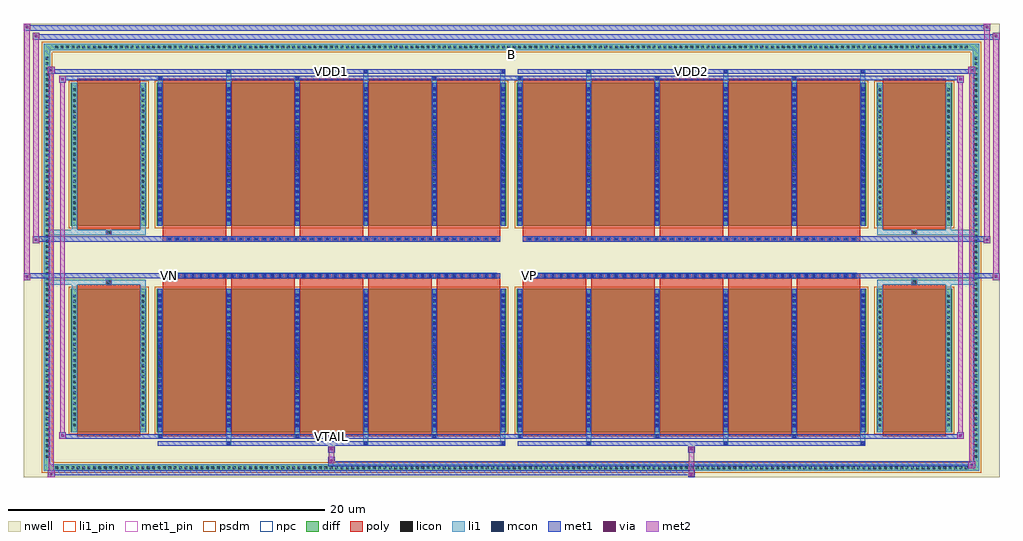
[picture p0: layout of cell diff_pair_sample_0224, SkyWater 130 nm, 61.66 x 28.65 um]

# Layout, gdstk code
import gdstk
lib = gdstk.Library(unit=1e-6, precision=5e-09)
def R(c, l, rs):  # rectangles x0, y0, x1, y1
    for r in rs: c.add(gdstk.rectangle(r[:2], r[2:], *l))
def A(c, l, x, y, w, h, nx, ny, dx, dy):  # array of equal rectangles
    R(c, l, [(x+i*dx, y+j*dy, x+i*dx+w, y+j*dy+h) for i in range(nx) for j in range(ny)])
def P(c, l, *ps):  # polygons
    for p in ps: c.add(gdstk.Polygon(p, *l))
nwell = (64, 20)
diff = (65, 20)
poly = (66, 20)
licon = (66, 44)
li1_pin = (67, 16)
li1 = (67, 20)
mcon = (67, 44)
met1_pin = (68, 16)
met1 = (68, 20)
via = (68, 44)
met2 = (69, 20)
psdm = (94, 20)
npc = (95, 20)

diff_pair_sample_0224 = lib.new_cell('diff_pair_sample_0224')
R(diff_pair_sample_0224, nwell, [(-30.83,-13.89,30.83,14.76), (-28.15,-12.08,-0.01,-0.8), (0.01,-12.08,28.15,-0.8), (-28.15,0.8,-0.01,12.08), (0.01,0.8,28.15,12.08)])
A(diff_pair_sample_0224, diff, -28.935, -13.49, 0.41, 0.41, 170, 2, 0.34, 26.57)
A(diff_pair_sample_0224, diff, -29.56, -12.785, 0.41, 0.41, 1, 75, 0, 0.34)
A(diff_pair_sample_0224, diff, 29.15, -12.785, 0.41, 0.41, 1, 75, 0, 0.34)
R(diff_pair_sample_0224, diff, [(-28.935,-13.49,28.935,-13.08), (-29.56,-12.785,-29.15,12.785), (29.15,-12.785,29.56,12.785), (-27.84,-11.035,-23.06,-1.985), (-22.42,-11.035,-0.32,-1.985), (0.32,-11.035,22.42,-1.985), (23.06,-11.035,27.84,-1.985), (-27.84,1.985,-23.06,11.035), (-22.42,1.985,-0.32,11.035), (0.32,1.985,22.42,11.035), (23.06,1.985,27.84,11.035), (-28.935,13.08,28.935,13.49)])
P(diff_pair_sample_0224, diff, [(29.56,13.49),(-29.56,13.49),(-29.56,-13.08),(-29.15,-13.08),(-29.15,13.08),(29.15,13.08),(29.15,-13.08),(-29.15,-13.08),(-29.56,-13.08),(-29.56,-13.49),(29.56,-13.49)])
A(diff_pair_sample_0224, poly, -22.03, -11.285, 4, 9.55, 5, 2, 4.33, 13.02)
A(diff_pair_sample_0224, poly, 0.71, -11.285, 4, 9.55, 5, 2, 4.33, 13.02)
A(diff_pair_sample_0224, poly, -22.03, -1.735, 4, 0.405, 5, 2, 4.33, 3.065)
A(diff_pair_sample_0224, poly, 0.71, -1.735, 4, 0.405, 5, 2, 4.33, 3.065)
A(diff_pair_sample_0224, poly, -21.785, -1.33, 0.33, 0.33, 42, 2, 0.5, 2.33)
A(diff_pair_sample_0224, poly, 0.955, -1.33, 0.33, 0.33, 42, 2, 0.5, 2.33)
R(diff_pair_sample_0224, poly, [(-27.45,-11.285,-23.45,-1.735), (23.45,-11.285,27.45,-1.735), (-25.615,-1.735,-25.285,-1.405), (-25.615,-1.735,-25.285,-1.405), (25.285,-1.735,25.615,-1.405), (25.285,-1.735,25.615,-1.405), (-22.03,-1.33,-0.71,-1), (0.71,-1.33,22.03,-1), (-22.03,1,-0.71,1.33), (0.71,1,22.03,1.33), (-25.615,1.405,-25.285,1.735), (-25.615,1.405,-25.285,1.735), (25.285,1.405,25.615,1.735), (25.285,1.405,25.615,1.735), (-27.45,1.735,-23.45,11.285), (23.45,1.735,27.45,11.285)])
A(diff_pair_sample_0224, licon, -28.815, -13.37, 0.17, 0.17, 170, 2, 0.34, 26.57)
A(diff_pair_sample_0224, licon, -29.44, -12.665, 0.17, 0.17, 1, 75, 0, 0.34)
A(diff_pair_sample_0224, licon, 29.27, -12.665, 0.17, 0.17, 1, 75, 0, 0.34)
A(diff_pair_sample_0224, licon, -27.7, -10.675, 0.17, 0.17, 1, 25, 0, 0.34)
A(diff_pair_sample_0224, licon, -23.37, -10.675, 0.17, 0.17, 1, 25, 0, 0.34)
A(diff_pair_sample_0224, licon, -22.28, -10.675, 0.17, 0.17, 6, 25, 4.33, 0.34)
A(diff_pair_sample_0224, licon, 0.46, -10.675, 0.17, 0.17, 6, 25, 4.33, 0.34)
A(diff_pair_sample_0224, licon, 23.2, -10.675, 0.17, 0.17, 1, 25, 0, 0.34)
A(diff_pair_sample_0224, licon, 27.53, -10.675, 0.17, 0.17, 1, 25, 0, 0.34)
A(diff_pair_sample_0224, licon, -21.705, -1.25, 0.17, 0.17, 42, 2, 0.5, 2.33)
A(diff_pair_sample_0224, licon, 1.035, -1.25, 0.17, 0.17, 42, 2, 0.5, 2.33)
A(diff_pair_sample_0224, licon, -27.7, 2.345, 0.17, 0.17, 1, 25, 0, 0.34)
A(diff_pair_sample_0224, licon, -23.37, 2.345, 0.17, 0.17, 1, 25, 0, 0.34)
A(diff_pair_sample_0224, licon, -22.28, 2.345, 0.17, 0.17, 6, 25, 4.33, 0.34)
A(diff_pair_sample_0224, licon, 0.46, 2.345, 0.17, 0.17, 6, 25, 4.33, 0.34)
A(diff_pair_sample_0224, licon, 23.2, 2.345, 0.17, 0.17, 1, 25, 0, 0.34)
A(diff_pair_sample_0224, licon, 27.53, 2.345, 0.17, 0.17, 1, 25, 0, 0.34)
R(diff_pair_sample_0224, licon, [(-25.535,-1.655,-25.365,-1.485), (25.365,-1.655,25.535,-1.485), (-25.535,1.485,-25.365,1.655), (25.365,1.485,25.535,1.655)])
R(diff_pair_sample_0224, li1_pin, [(-0.25,12.58,0.25,13.08)])
A(diff_pair_sample_0224, li1, -28.895, -13.45, 0.33, 0.33, 170, 2, 0.34, 26.57)
A(diff_pair_sample_0224, li1, -29.52, -12.745, 0.33, 0.33, 1, 75, 0, 0.34)
A(diff_pair_sample_0224, li1, 29.19, -12.745, 0.33, 0.33, 1, 75, 0, 0.34)
A(diff_pair_sample_0224, li1, -18.03, -11.84, 0.33, 0.805, 3, 2, 8.66, 22.875)
A(diff_pair_sample_0224, li1, -17.95, -11.84, 0.17, 0.17, 3, 2, 8.66, 23.51)
A(diff_pair_sample_0224, li1, 4.71, -11.84, 0.33, 0.805, 3, 2, 8.66, 22.875)
A(diff_pair_sample_0224, li1, 4.79, -11.84, 0.17, 0.17, 3, 2, 8.66, 23.51)
A(diff_pair_sample_0224, li1, -22.36, -11.41, 0.33, 0.375, 3, 2, 8.66, 22.445)
A(diff_pair_sample_0224, li1, -22.28, -11.41, 0.17, 0.17, 3, 2, 8.66, 22.65)
A(diff_pair_sample_0224, li1, 0.38, -11.41, 0.33, 0.375, 3, 2, 8.66, 22.445)
A(diff_pair_sample_0224, li1, 0.46, -11.41, 0.17, 0.17, 3, 2, 8.66, 22.65)
A(diff_pair_sample_0224, li1, -22.36, -11.035, 0.33, 9.05, 6, 2, 4.33, 13.02)
A(diff_pair_sample_0224, li1, 0.38, -11.035, 0.33, 9.05, 6, 2, 4.33, 13.02)
A(diff_pair_sample_0224, li1, -27.78, -10.755, 0.33, 0.33, 1, 25, 0, 0.34)
A(diff_pair_sample_0224, li1, -23.45, -10.755, 0.33, 0.33, 1, 25, 0, 0.34)
A(diff_pair_sample_0224, li1, -22.36, -10.755, 0.33, 0.33, 6, 25, 4.33, 0.34)
A(diff_pair_sample_0224, li1, 0.38, -10.755, 0.33, 0.33, 6, 25, 4.33, 0.34)
A(diff_pair_sample_0224, li1, 23.12, -10.755, 0.33, 0.33, 1, 25, 0, 0.34)
A(diff_pair_sample_0224, li1, 27.45, -10.755, 0.33, 0.33, 1, 25, 0, 0.34)
A(diff_pair_sample_0224, li1, -22.28, -10.735, 0.17, 0.17, 6, 24, 4.33, 0.36)
A(diff_pair_sample_0224, li1, -22.28, -10.735, 0.17, 8.45, 6, 2, 4.33, 13.02)
A(diff_pair_sample_0224, li1, 0.46, -10.735, 0.17, 0.17, 6, 24, 4.33, 0.36)
A(diff_pair_sample_0224, li1, 0.46, -10.735, 0.17, 8.45, 6, 2, 4.33, 13.02)
A(diff_pair_sample_0224, li1, -21.785, -1.33, 0.33, 0.33, 42, 2, 0.5, 2.33)
A(diff_pair_sample_0224, li1, 0.955, -1.33, 0.33, 0.33, 42, 2, 0.5, 2.33)
A(diff_pair_sample_0224, li1, -27.78, 2.265, 0.33, 0.33, 1, 25, 0, 0.34)
A(diff_pair_sample_0224, li1, -23.45, 2.265, 0.33, 0.33, 1, 25, 0, 0.34)
A(diff_pair_sample_0224, li1, -22.36, 2.265, 0.33, 0.33, 6, 25, 4.33, 0.34)
A(diff_pair_sample_0224, li1, 0.38, 2.265, 0.33, 0.33, 6, 25, 4.33, 0.34)
A(diff_pair_sample_0224, li1, 23.12, 2.265, 0.33, 0.33, 1, 25, 0, 0.34)
A(diff_pair_sample_0224, li1, 27.45, 2.265, 0.33, 0.33, 1, 25, 0, 0.34)
A(diff_pair_sample_0224, li1, -22.28, 2.285, 0.17, 0.17, 6, 24, 4.33, 0.36)
A(diff_pair_sample_0224, li1, 0.46, 2.285, 0.17, 0.17, 6, 24, 4.33, 0.36)
R(diff_pair_sample_0224, li1, [(-29.56,-13.49,-29.15,-13.08), (-29.56,-13.49,-29.15,-13.08), (-29.15,-13.49,29.15,-13.08), (29.15,-13.49,29.56,-13.08), (29.15,-13.49,29.56,-13.08), (-29.56,-13.08,-29.15,13.08), (29.15,-13.08,29.56,13.08), (-27.78,-11.035,-27.45,-1.985), (-23.45,-11.035,-23.12,-1.985), (23.12,-11.035,23.45,-1.985), (27.45,-11.035,27.78,-1.985), (-27.78,-1.985,-27.45,-1.405), (-23.45,-1.985,-23.12,-1.405), (23.12,-1.985,23.45,-1.405), (27.45,-1.985,27.78,-1.405), (-29.56,-1.735,-25.615,-1.405), (-27.78,-1.735,-25.615,-1.405), (-25.615,-1.735,-25.285,-1.405), (-25.285,-1.735,-23.12,-1.405), (23.12,-1.735,25.285,-1.405), (25.285,-1.735,25.615,-1.405), (25.285,-1.735,29.56,-1.405), (25.615,-1.735,27.78,-1.405), (-29.56,1.405,-25.615,1.735), (-27.78,1.405,-25.615,1.735), (-27.78,1.405,-27.45,1.985), (-25.615,1.405,-25.285,1.735), (-25.285,1.405,-23.12,1.735), (-23.45,1.405,-23.12,1.985), (23.12,1.405,25.285,1.735), (23.12,1.405,23.45,1.985), (25.285,1.405,25.615,1.735), (25.285,1.405,29.56,1.735), (25.615,1.405,27.78,1.735), (27.45,1.405,27.78,1.985), (-27.78,1.985,-27.45,11.035), (-23.45,1.985,-23.12,11.035), (23.12,1.985,23.45,11.035), (27.45,1.985,27.78,11.035), (-29.56,13.08,-29.15,13.49), (-29.56,13.08,-29.15,13.49), (-29.15,13.08,29.15,13.49), (29.15,13.08,29.56,13.49), (29.15,13.08,29.56,13.49)])
A(diff_pair_sample_0224, mcon, -17.95, -11.84, 0.17, 0.17, 3, 2, 8.66, 23.51)
A(diff_pair_sample_0224, mcon, 4.79, -11.84, 0.17, 0.17, 3, 2, 8.66, 23.51)
A(diff_pair_sample_0224, mcon, -22.28, -11.41, 0.17, 0.17, 3, 2, 8.66, 22.65)
A(diff_pair_sample_0224, mcon, 0.46, -11.41, 0.17, 0.17, 3, 2, 8.66, 22.65)
A(diff_pair_sample_0224, mcon, -22.28, -10.735, 0.17, 0.17, 6, 24, 4.33, 0.36)
A(diff_pair_sample_0224, mcon, 0.46, -10.735, 0.17, 0.17, 6, 24, 4.33, 0.36)
A(diff_pair_sample_0224, mcon, -21.705, -1.25, 0.17, 0.17, 42, 2, 0.5, 2.33)
A(diff_pair_sample_0224, mcon, 1.035, -1.25, 0.17, 0.17, 42, 2, 0.5, 2.33)
A(diff_pair_sample_0224, mcon, -22.28, 2.285, 0.17, 0.17, 6, 24, 4.33, 0.36)
A(diff_pair_sample_0224, mcon, 0.46, 2.285, 0.17, 0.17, 6, 24, 4.33, 0.36)
R(diff_pair_sample_0224, met1_pin, [(-11.505,-11.45,-11.235,-11.18), (-21.755,-1.29,-21.485,-1.02), (0.985,-1.29,1.255,-1.02), (-11.505,11.63,-11.235,11.9), (11.235,11.63,11.505,11.9)])
A(diff_pair_sample_0224, met1, -18.01, -11.9, 0.29, 0.29, 3, 2, 8.66, 23.51)
A(diff_pair_sample_0224, met1, 4.73, -11.9, 0.29, 0.29, 3, 2, 8.66, 23.51)
A(diff_pair_sample_0224, met1, -22.34, -11.47, 0.29, 0.29, 3, 2, 8.66, 22.65)
A(diff_pair_sample_0224, met1, 0.4, -11.47, 0.29, 0.29, 3, 2, 8.66, 22.65)
A(diff_pair_sample_0224, met1, -22.34, -11.035, 0.29, 9.05, 6, 2, 4.33, 13.02)
A(diff_pair_sample_0224, met1, 0.4, -11.035, 0.29, 9.05, 6, 2, 4.33, 13.02)
A(diff_pair_sample_0224, met1, -22.34, -10.795, 0.29, 0.29, 6, 24, 4.33, 0.36)
A(diff_pair_sample_0224, met1, 0.4, -10.795, 0.29, 0.29, 6, 24, 4.33, 0.36)
A(diff_pair_sample_0224, met1, -21.765, -1.31, 0.29, 0.29, 42, 2, 0.5, 2.33)
A(diff_pair_sample_0224, met1, 0.975, -1.31, 0.29, 0.29, 42, 2, 0.5, 2.33)
A(diff_pair_sample_0224, met1, -22.34, 2.225, 0.29, 0.29, 6, 24, 4.33, 0.36)
A(diff_pair_sample_0224, met1, 0.4, 2.225, 0.29, 0.29, 6, 24, 4.33, 0.36)
R(diff_pair_sample_0224, met1, [(-29.29,-13.89,-28.86,-13.46), (11.155,-13.89,11.585,-13.46), (-29.29,-13.75,11.585,-13.46), (28.86,-13.32,29.29,-12.89), (-11.585,-13.18,29.29,-12.89), (-11.585,-13.04,-11.155,-12.61), (-11.585,-12.33,-11.155,-11.9), (11.155,-12.33,11.585,-11.9), (-22.34,-11.9,-0.4,-11.61), (0.4,-11.9,22.34,-11.61), (-28.58,-11.47,-28.15,-11.04), (-28.58,-11.47,-22.34,-11.18), (-22.34,-11.47,-0.4,-11.18), (-0.4,-11.47,0.4,-11.18), (0.4,-11.47,22.34,-11.18), (22.34,-11.47,28.58,-11.18), (28.15,-11.47,28.58,-11.04), (-30.83,-1.43,-30.4,-1), (30.4,-1.43,30.83,-1), (-30.83,-1.33,-0.71,-1), (-22.03,-1.33,-0.71,-1), (0.71,-1.33,22.03,-1), (0.71,-1.33,30.83,-1), (-30.26,0.9,-29.83,1.33), (29.83,0.9,30.26,1.33), (-30.26,1,-22.03,1.33), (-22.03,1,-0.71,1.33), (0.71,1,22.03,1.33), (22.03,1,30.26,1.33), (-28.58,11.04,-28.15,11.47), (28.15,11.04,28.58,11.47), (-28.58,11.18,-22.34,11.47), (-22.34,11.18,-0.4,11.47), (-0.4,11.18,0.4,11.47), (0.4,11.18,22.34,11.47), (22.34,11.18,28.58,11.47), (-29.29,11.61,-28.86,12.04), (-29.29,11.61,-22.34,11.9), (-22.34,11.61,-0.4,11.9), (0.4,11.61,22.34,11.9), (22.34,11.61,29.29,11.9), (28.86,11.61,29.29,12.04), (-30.26,13.76,-29.83,14.19), (-30.26,13.76,-28.15,14.09), (-28.15,13.76,28.15,14.09), (28.15,13.76,30.83,14.09), (30.4,13.76,30.83,14.19), (-30.83,14.33,-30.4,14.76), (-30.83,14.33,-28.15,14.66), (-28.15,14.33,28.15,14.66), (28.15,14.33,30.26,14.66), (29.83,14.33,30.26,14.76)])
R(diff_pair_sample_0224, via, [(-29.15,-13.75,-29,-13.6), (11.295,-13.75,11.445,-13.6), (29,-13.18,29.15,-13.03), (-11.445,-12.9,-11.295,-12.75), (-11.445,-12.19,-11.295,-12.04), (11.295,-12.19,11.445,-12.04), (-28.44,-11.33,-28.29,-11.18), (28.29,-11.33,28.44,-11.18), (-30.69,-1.29,-30.54,-1.14), (30.54,-1.29,30.69,-1.14), (-30.12,1.04,-29.97,1.19), (29.97,1.04,30.12,1.19), (-28.44,11.18,-28.29,11.33), (28.29,11.18,28.44,11.33), (-29.15,11.75,-29,11.9), (29,11.75,29.15,11.9), (-30.12,13.9,-29.97,14.05), (30.54,13.9,30.69,14.05), (-30.69,14.47,-30.54,14.62), (29.97,14.47,30.12,14.62)])
R(diff_pair_sample_0224, met2, [(-29.29,-13.89,-28.86,-13.46), (-29.22,-13.89,-28.93,12.04), (-28.93,-13.89,-28.86,-13.46), (-29.24,-13.84,-28.91,-13.51), (11.205,-13.84,11.535,-13.51), (11.205,-13.51,11.535,-12.28), (28.86,-13.32,29.29,-12.89), (28.93,-13.32,29.22,12.04), (29.22,-13.32,29.29,-12.89), (28.91,-13.27,29.24,-12.94), (-11.535,-12.99,-11.205,-12.66), (-11.535,-12.66,-11.205,-12.28), (-11.535,-12.28,-11.205,-11.95), (11.205,-12.28,11.535,-11.95), (-28.58,-11.47,-28.15,-11.04), (-28.51,-11.47,-28.22,11.47), (-28.22,-11.47,-28.15,-11.04), (28.15,-11.47,28.58,-11.04), (28.22,-11.47,28.51,11.47), (28.51,-11.47,28.58,-11.04), (-28.53,-11.42,-28.2,-11.09), (28.2,-11.42,28.53,-11.09), (-30.83,-1.43,-30.4,-1), (-30.78,-1.43,-30.45,14.76), (-30.45,-1.43,-30.4,-1), (30.4,-1.43,30.83,-1), (30.45,-1.43,30.78,14.19), (30.78,-1.43,30.83,-1), (-30.78,-1.38,-30.45,-1.05), (30.45,-1.38,30.78,-1.05), (-30.26,0.9,-29.83,1.33), (-30.21,0.9,-29.88,14.19), (-29.88,0.9,-29.83,1.33), (29.83,0.9,30.26,1.33), (29.88,0.9,30.21,14.76), (30.21,0.9,30.26,1.33), (-30.21,0.95,-29.88,1.28), (29.88,0.95,30.21,1.28), (-28.58,11.04,-28.15,11.47), (-28.22,11.04,-28.15,11.47), (28.15,11.04,28.58,11.47), (28.51,11.04,28.58,11.47), (-28.53,11.09,-28.2,11.42), (28.2,11.09,28.53,11.42), (-29.29,11.61,-28.86,12.04), (-28.93,11.61,-28.86,12.04), (28.86,11.61,29.29,12.04), (29.22,11.61,29.29,12.04), (-29.24,11.66,-28.91,11.99), (28.91,11.66,29.24,11.99), (-30.26,13.76,-29.83,14.19), (-29.88,13.76,-29.83,14.19), (30.4,13.76,30.83,14.19), (30.78,13.76,30.83,14.19), (-30.21,13.81,-29.88,14.14), (30.45,13.81,30.78,14.14), (-30.83,14.33,-30.4,14.76), (-30.45,14.33,-30.4,14.76), (29.83,14.33,30.26,14.76), (30.21,14.33,30.26,14.76), (-30.78,14.38,-30.45,14.71), (29.88,14.38,30.21,14.71)])
R(diff_pair_sample_0224, psdm, [(-27.97,-11.165,-22.93,-1.855), (-22.55,-11.165,-0.19,-1.855), (0.19,-11.165,22.55,-1.855), (22.93,-11.165,27.97,-1.855), (-27.97,1.855,-22.93,11.165), (-22.55,1.855,-0.19,11.165), (0.19,1.855,22.55,11.165), (22.93,1.855,27.97,11.165)])
P(diff_pair_sample_0224, psdm, [(29.69,13.62),(-29.69,13.62),(-29.69,-12.95),(-29.02,-12.95),(-29.02,12.95),(29.02,12.95),(29.02,-12.95),(-29.02,-12.95),(-29.69,-12.95),(-29.69,-13.62),(29.69,-13.62)])
A(diff_pair_sample_0224, npc, -21.805, -1.35, 0.37, 0.37, 42, 2, 0.5, 2.33)
A(diff_pair_sample_0224, npc, 0.935, -1.35, 0.37, 0.37, 42, 2, 0.5, 2.33)
R(diff_pair_sample_0224, npc, [(-25.635,-1.755,-25.265,-1.385), (25.265,-1.755,25.635,-1.385), (-21.805,-1.35,-20.935,-0.98), (-21.805,-1.35,-20.935,-0.98), (-21.305,-1.35,-20.435,-0.98), (-21.305,-1.35,-20.435,-0.98), (-20.805,-1.35,-19.935,-0.98), (-20.805,-1.35,-19.935,-0.98), (-20.305,-1.35,-19.435,-0.98), (-20.305,-1.35,-19.435,-0.98), (-19.805,-1.35,-18.935,-0.98), (-19.805,-1.35,-18.935,-0.98), (-19.305,-1.35,-18.435,-0.98), (-19.305,-1.35,-18.435,-0.98), (-18.805,-1.35,-17.935,-0.98), (-18.805,-1.35,-17.935,-0.98), (-18.305,-1.35,-17.435,-0.98), (-18.305,-1.35,-17.435,-0.98), (-17.805,-1.35,-16.935,-0.98), (-17.805,-1.35,-16.935,-0.98), (-17.305,-1.35,-16.435,-0.98), (-17.305,-1.35,-16.435,-0.98), (-16.805,-1.35,-15.935,-0.98), (-16.805,-1.35,-15.935,-0.98), (-16.305,-1.35,-15.435,-0.98), (-16.305,-1.35,-15.435,-0.98), (-15.805,-1.35,-14.935,-0.98), (-15.805,-1.35,-14.935,-0.98), (-15.305,-1.35,-14.435,-0.98), (-15.305,-1.35,-14.435,-0.98), (-14.805,-1.35,-13.935,-0.98), (-14.805,-1.35,-13.935,-0.98), (-14.305,-1.35,-13.435,-0.98), (-14.305,-1.35,-13.435,-0.98), (-13.805,-1.35,-12.935,-0.98), (-13.805,-1.35,-12.935,-0.98), (-13.305,-1.35,-12.435,-0.98), (-13.305,-1.35,-12.435,-0.98), (-12.805,-1.35,-11.935,-0.98), (-12.805,-1.35,-11.935,-0.98), (-12.305,-1.35,-11.435,-0.98), (-12.305,-1.35,-11.435,-0.98), (-11.805,-1.35,-10.935,-0.98), (-11.805,-1.35,-10.935,-0.98), (-11.305,-1.35,-10.435,-0.98), (-11.305,-1.35,-10.435,-0.98), (-10.805,-1.35,-9.935,-0.98), (-10.805,-1.35,-9.935,-0.98), (-10.305,-1.35,-9.435,-0.98), (-10.305,-1.35,-9.435,-0.98), (-9.805,-1.35,-8.935,-0.98), (-9.805,-1.35,-8.935,-0.98), (-9.305,-1.35,-8.435,-0.98), (-9.305,-1.35,-8.435,-0.98), (-8.805,-1.35,-7.935,-0.98), (-8.805,-1.35,-7.935,-0.98), (-8.305,-1.35,-7.435,-0.98), (-8.305,-1.35,-7.435,-0.98), (-7.805,-1.35,-6.935,-0.98), (-7.805,-1.35,-6.935,-0.98), (-7.305,-1.35,-6.435,-0.98), (-7.305,-1.35,-6.435,-0.98), (-6.805,-1.35,-5.935,-0.98), (-6.805,-1.35,-5.935,-0.98), (-6.305,-1.35,-5.435,-0.98), (-6.305,-1.35,-5.435,-0.98), (-5.805,-1.35,-4.935,-0.98), (-5.805,-1.35,-4.935,-0.98), (-5.305,-1.35,-4.435,-0.98), (-5.305,-1.35,-4.435,-0.98), (-4.805,-1.35,-3.935,-0.98), (-4.805,-1.35,-3.935,-0.98), (-4.305,-1.35,-3.435,-0.98), (-4.305,-1.35,-3.435,-0.98), (-3.805,-1.35,-2.935,-0.98), (-3.805,-1.35,-2.935,-0.98), (-3.305,-1.35,-2.435,-0.98), (-3.305,-1.35,-2.435,-0.98), (-2.805,-1.35,-1.935,-0.98), (-2.805,-1.35,-1.935,-0.98), (-2.305,-1.35,-1.435,-0.98), (-2.305,-1.35,-1.435,-0.98), (-1.805,-1.35,-0.935,-0.98), (-1.805,-1.35,-0.935,-0.98), (0.935,-1.35,1.805,-0.98), (0.935,-1.35,1.805,-0.98), (1.435,-1.35,2.305,-0.98), (1.435,-1.35,2.305,-0.98), (1.935,-1.35,2.805,-0.98), (1.935,-1.35,2.805,-0.98), (2.435,-1.35,3.305,-0.98), (2.435,-1.35,3.305,-0.98), (2.935,-1.35,3.805,-0.98), (2.935,-1.35,3.805,-0.98), (3.435,-1.35,4.305,-0.98), (3.435,-1.35,4.305,-0.98), (3.935,-1.35,4.805,-0.98), (3.935,-1.35,4.805,-0.98), (4.435,-1.35,5.305,-0.98), (4.435,-1.35,5.305,-0.98), (4.935,-1.35,5.805,-0.98), (4.935,-1.35,5.805,-0.98), (5.435,-1.35,6.305,-0.98), (5.435,-1.35,6.305,-0.98), (5.935,-1.35,6.805,-0.98), (5.935,-1.35,6.805,-0.98), (6.435,-1.35,7.305,-0.98), (6.435,-1.35,7.305,-0.98), (6.935,-1.35,7.805,-0.98), (6.935,-1.35,7.805,-0.98), (7.435,-1.35,8.305,-0.98), (7.435,-1.35,8.305,-0.98), (7.935,-1.35,8.805,-0.98), (7.935,-1.35,8.805,-0.98), (8.435,-1.35,9.305,-0.98), (8.435,-1.35,9.305,-0.98), (8.935,-1.35,9.805,-0.98), (8.935,-1.35,9.805,-0.98), (9.435,-1.35,10.305,-0.98), (9.435,-1.35,10.305,-0.98), (9.935,-1.35,10.805,-0.98), (9.935,-1.35,10.805,-0.98), (10.435,-1.35,11.305,-0.98), (10.435,-1.35,11.305,-0.98), (10.935,-1.35,11.805,-0.98), (10.935,-1.35,11.805,-0.98), (11.435,-1.35,12.305,-0.98), (11.435,-1.35,12.305,-0.98), (11.935,-1.35,12.805,-0.98), (11.935,-1.35,12.805,-0.98), (12.435,-1.35,13.305,-0.98), (12.435,-1.35,13.305,-0.98), (12.935,-1.35,13.805,-0.98), (12.935,-1.35,13.805,-0.98), (13.435,-1.35,14.305,-0.98), (13.435,-1.35,14.305,-0.98), (13.935,-1.35,14.805,-0.98), (13.935,-1.35,14.805,-0.98), (14.435,-1.35,15.305,-0.98), (14.435,-1.35,15.305,-0.98), (14.935,-1.35,15.805,-0.98), (14.935,-1.35,15.805,-0.98), (15.435,-1.35,16.305,-0.98), (15.435,-1.35,16.305,-0.98), (15.935,-1.35,16.805,-0.98), (15.935,-1.35,16.805,-0.98), (16.435,-1.35,17.305,-0.98), (16.435,-1.35,17.305,-0.98), (16.935,-1.35,17.805,-0.98), (16.935,-1.35,17.805,-0.98), (17.435,-1.35,18.305,-0.98), (17.435,-1.35,18.305,-0.98), (17.935,-1.35,18.805,-0.98), (17.935,-1.35,18.805,-0.98), (18.435,-1.35,19.305,-0.98), (18.435,-1.35,19.305,-0.98), (18.935,-1.35,19.805,-0.98), (18.935,-1.35,19.805,-0.98), (19.435,-1.35,20.305,-0.98), (19.435,-1.35,20.305,-0.98), (19.935,-1.35,20.805,-0.98), (19.935,-1.35,20.805,-0.98), (20.435,-1.35,21.305,-0.98), (20.435,-1.35,21.305,-0.98), (20.935,-1.35,21.805,-0.98), (20.935,-1.35,21.805,-0.98), (-21.805,0.98,-20.935,1.35), (-21.805,0.98,-20.935,1.35), (-21.305,0.98,-20.435,1.35), (-21.305,0.98,-20.435,1.35), (-20.805,0.98,-19.935,1.35), (-20.805,0.98,-19.935,1.35), (-20.305,0.98,-19.435,1.35), (-20.305,0.98,-19.435,1.35), (-19.805,0.98,-18.935,1.35), (-19.805,0.98,-18.935,1.35), (-19.305,0.98,-18.435,1.35), (-19.305,0.98,-18.435,1.35), (-18.805,0.98,-17.935,1.35), (-18.805,0.98,-17.935,1.35), (-18.305,0.98,-17.435,1.35), (-18.305,0.98,-17.435,1.35), (-17.805,0.98,-16.935,1.35), (-17.805,0.98,-16.935,1.35), (-17.305,0.98,-16.435,1.35), (-17.305,0.98,-16.435,1.35), (-16.805,0.98,-15.935,1.35), (-16.805,0.98,-15.935,1.35), (-16.305,0.98,-15.435,1.35), (-16.305,0.98,-15.435,1.35), (-15.805,0.98,-14.935,1.35), (-15.805,0.98,-14.935,1.35), (-15.305,0.98,-14.435,1.35), (-15.305,0.98,-14.435,1.35), (-14.805,0.98,-13.935,1.35), (-14.805,0.98,-13.935,1.35), (-14.305,0.98,-13.435,1.35), (-14.305,0.98,-13.435,1.35), (-13.805,0.98,-12.935,1.35), (-13.805,0.98,-12.935,1.35), (-13.305,0.98,-12.435,1.35), (-13.305,0.98,-12.435,1.35), (-12.805,0.98,-11.935,1.35), (-12.805,0.98,-11.935,1.35), (-12.305,0.98,-11.435,1.35), (-12.305,0.98,-11.435,1.35), (-11.805,0.98,-10.935,1.35), (-11.805,0.98,-10.935,1.35), (-11.305,0.98,-10.435,1.35), (-11.305,0.98,-10.435,1.35), (-10.805,0.98,-9.935,1.35), (-10.805,0.98,-9.935,1.35), (-10.305,0.98,-9.435,1.35), (-10.305,0.98,-9.435,1.35), (-9.805,0.98,-8.935,1.35), (-9.805,0.98,-8.935,1.35), (-9.305,0.98,-8.435,1.35), (-9.305,0.98,-8.435,1.35), (-8.805,0.98,-7.935,1.35), (-8.805,0.98,-7.935,1.35), (-8.305,0.98,-7.435,1.35), (-8.305,0.98,-7.435,1.35), (-7.805,0.98,-6.935,1.35), (-7.805,0.98,-6.935,1.35), (-7.305,0.98,-6.435,1.35), (-7.305,0.98,-6.435,1.35), (-6.805,0.98,-5.935,1.35), (-6.805,0.98,-5.935,1.35), (-6.305,0.98,-5.435,1.35), (-6.305,0.98,-5.435,1.35), (-5.805,0.98,-4.935,1.35), (-5.805,0.98,-4.935,1.35), (-5.305,0.98,-4.435,1.35), (-5.305,0.98,-4.435,1.35), (-4.805,0.98,-3.935,1.35), (-4.805,0.98,-3.935,1.35), (-4.305,0.98,-3.435,1.35), (-4.305,0.98,-3.435,1.35), (-3.805,0.98,-2.935,1.35), (-3.805,0.98,-2.935,1.35), (-3.305,0.98,-2.435,1.35), (-3.305,0.98,-2.435,1.35), (-2.805,0.98,-1.935,1.35), (-2.805,0.98,-1.935,1.35), (-2.305,0.98,-1.435,1.35), (-2.305,0.98,-1.435,1.35), (-1.805,0.98,-0.935,1.35), (-1.805,0.98,-0.935,1.35), (0.935,0.98,1.805,1.35), (0.935,0.98,1.805,1.35), (1.435,0.98,2.305,1.35), (1.435,0.98,2.305,1.35), (1.935,0.98,2.805,1.35), (1.935,0.98,2.805,1.35), (2.435,0.98,3.305,1.35), (2.435,0.98,3.305,1.35), (2.935,0.98,3.805,1.35), (2.935,0.98,3.805,1.35), (3.435,0.98,4.305,1.35), (3.435,0.98,4.305,1.35), (3.935,0.98,4.805,1.35), (3.935,0.98,4.805,1.35), (4.435,0.98,5.305,1.35), (4.435,0.98,5.305,1.35), (4.935,0.98,5.805,1.35), (4.935,0.98,5.805,1.35), (5.435,0.98,6.305,1.35), (5.435,0.98,6.305,1.35), (5.935,0.98,6.805,1.35), (5.935,0.98,6.805,1.35), (6.435,0.98,7.305,1.35), (6.435,0.98,7.305,1.35), (6.935,0.98,7.805,1.35), (6.935,0.98,7.805,1.35), (7.435,0.98,8.305,1.35), (7.435,0.98,8.305,1.35), (7.935,0.98,8.805,1.35), (7.935,0.98,8.805,1.35), (8.435,0.98,9.305,1.35), (8.435,0.98,9.305,1.35), (8.935,0.98,9.805,1.35), (8.935,0.98,9.805,1.35), (9.435,0.98,10.305,1.35), (9.435,0.98,10.305,1.35), (9.935,0.98,10.805,1.35), (9.935,0.98,10.805,1.35), (10.435,0.98,11.305,1.35), (10.435,0.98,11.305,1.35), (10.935,0.98,11.805,1.35), (10.935,0.98,11.805,1.35), (11.435,0.98,12.305,1.35), (11.435,0.98,12.305,1.35), (11.935,0.98,12.805,1.35), (11.935,0.98,12.805,1.35), (12.435,0.98,13.305,1.35), (12.435,0.98,13.305,1.35), (12.935,0.98,13.805,1.35), (12.935,0.98,13.805,1.35), (13.435,0.98,14.305,1.35), (13.435,0.98,14.305,1.35), (13.935,0.98,14.805,1.35), (13.935,0.98,14.805,1.35), (14.435,0.98,15.305,1.35), (14.435,0.98,15.305,1.35), (14.935,0.98,15.805,1.35), (14.935,0.98,15.805,1.35), (15.435,0.98,16.305,1.35), (15.435,0.98,16.305,1.35), (15.935,0.98,16.805,1.35), (15.935,0.98,16.805,1.35), (16.435,0.98,17.305,1.35), (16.435,0.98,17.305,1.35), (16.935,0.98,17.805,1.35), (16.935,0.98,17.805,1.35), (17.435,0.98,18.305,1.35), (17.435,0.98,18.305,1.35), (17.935,0.98,18.805,1.35), (17.935,0.98,18.805,1.35), (18.435,0.98,19.305,1.35), (18.435,0.98,19.305,1.35), (18.935,0.98,19.805,1.35), (18.935,0.98,19.805,1.35), (19.435,0.98,20.305,1.35), (19.435,0.98,20.305,1.35), (19.935,0.98,20.805,1.35), (19.935,0.98,20.805,1.35), (20.435,0.98,21.305,1.35), (20.435,0.98,21.305,1.35), (20.935,0.98,21.805,1.35), (20.935,0.98,21.805,1.35), (-25.635,1.385,-25.265,1.755), (25.265,1.385,25.635,1.755)])
diff_pair_sample_0224.add(gdstk.Label('VTAIL', (-11.37,-11.315), layer=68, texttype=5))
diff_pair_sample_0224.add(gdstk.Label('VN', (-21.62,-1.155), layer=68, texttype=5))
diff_pair_sample_0224.add(gdstk.Label('VP', (1.12,-1.155), layer=68, texttype=5))
diff_pair_sample_0224.add(gdstk.Label('B', (0,12.83), layer=67, texttype=5))
diff_pair_sample_0224.add(gdstk.Label('VDD2', (11.37,11.765), layer=68, texttype=5))
diff_pair_sample_0224.add(gdstk.Label('VDD1', (-11.37,11.765), layer=68, texttype=5))

lib.write_gds('diff_pair_sample_0224.gds')
